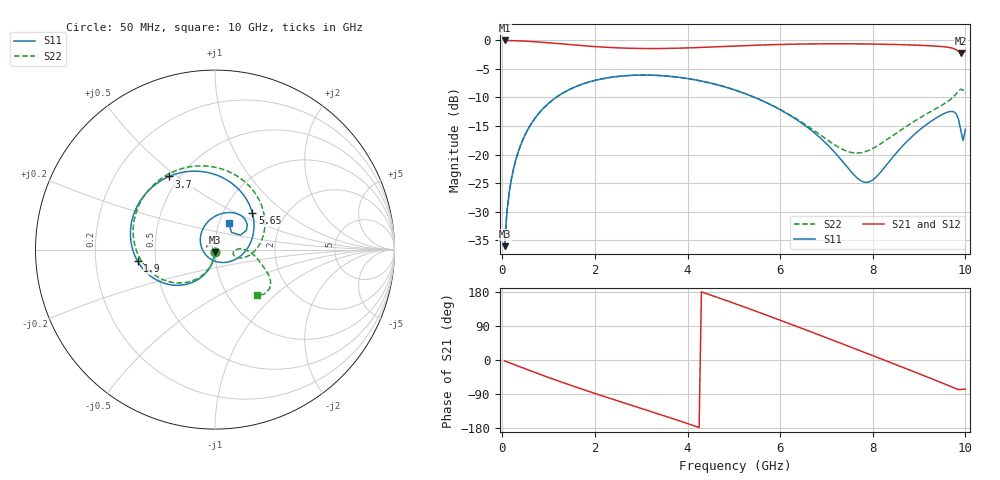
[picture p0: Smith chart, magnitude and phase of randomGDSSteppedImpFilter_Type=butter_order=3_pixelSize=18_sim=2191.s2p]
! freq	dB(S11)	phase(S11)	dB(S12)	phase(S12)
!  dB(S21)	phase(S21)	dB(S22)	phase(S22)
!S-par simulation data
#  GHz  S  DB  R 50
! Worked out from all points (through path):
!   200 points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, 50 MHz to 10 GHz, reference 50 ohm
!   highest |S21| = 0.00 dB at 50 MHz (marker M1); lowest = -2.2 dB at 9.9 GHz (marker M2)
!   group delay of S21, straight-line fit = 122 ps
!   lowest |S11| = -36.1 dB at 50 MHz (marker M3), VSWR 1.03, Z = 49.9 - j1.57 ohm
!   |S11| at or under -10 dB: start of sweep to 1.159 GHz; 5.452 GHz to end of sweep
!   |S22| runs from -36.1 to -6.1 dB; largest |S21 - S12| = 0
!   S11 on the Smith chart (normalised r, x): 50 MHz: 1.00, -0.03; 1.9 GHz: 0.39, -0.06; 3.7 GHz: 0.44, +0.47; 5.65 GHz: 1.37, +0.61; 10 GHz: 1.11, +0.34
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0.05  -36.05 -92.3  -0.00 -2.4  -0.00 -2.4  -36.06 -92.5
0.1  -30.07 -94.8  -0.01 -4.8  -0.01 -4.8  -30.07 -95.1
0.2  -24.13 -99.5  -0.03 -9.5  -0.03 -9.5  -24.13 -100.2
0.5  -16.42 -113.2  -0.13 -23.5  -0.13 -23.5  -16.42 -114.9
1.1  -10.36 -139.2  -0.48 -50.6  -0.48 -50.6  -10.36 -143.2
1.75  -7.59 -165.5  -0.93 -78.1  -0.93 -78.1  -7.60 -172.0
1.9  -7.22 -171.3  -1.02 -84.2  -1.02 -84.2  -7.22 -178.4
2.6  -6.22 162.4  -1.33 -112.1  -1.33 -112.1  -6.22 152.1
3.4  -6.15 133.1  -1.42 -143.6  -1.42 -143.6  -6.15 118.7
3.7  -6.36 122.0  -1.38 -155.6  -1.38 -155.6  -6.36 105.9
4.4  -7.29 95.6  -1.19 175.6  -1.19 175.6  -7.29 75.4
5.05  -8.77 69.8  -0.97 147.7  -0.97 147.7  -8.75 46.5
5.65  -10.71 44.5  -0.79 121.0  -0.79 121.0  -10.68 20.3
6.7  -15.93 -7.6  -0.61 72.7  -0.61 72.7  -15.61 -15.6
7.8  -24.81 -118.7  -0.61 21.0  -0.61 21.0  -19.58 -5.7
8.35  -21.27 157.9  -0.69 -5.1  -0.69 -5.1  -17.14 1.8
8.9  -16.46 109.9  -0.81 -31.4  -0.81 -31.4  -14.16 -4.2
9.55  -12.78 62.9  -1.12 -63.1  -1.12 -63.1  -11.06 -18.7
9.8  -12.84 37.9  -1.63 -75.8  -1.63 -75.8  -9.37 -26.7
9.9  -15.72 29.6  -2.19 -78.1  -2.19 -78.1  -8.53 -35.8
9.95  -17.54 46.0  -2.18 -77.0  -2.18 -77.0  -8.66 -42.5
10  -15.58 62.3  -1.82 -77.4  -1.82 -77.4  -9.25 -46.9
